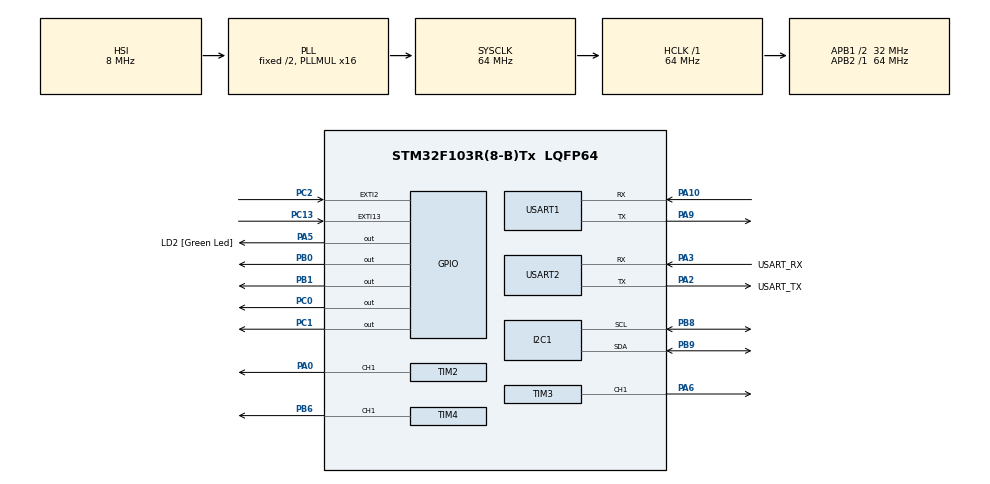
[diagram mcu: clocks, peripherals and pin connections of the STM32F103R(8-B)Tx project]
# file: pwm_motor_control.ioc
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Mcu.Family=STM32F1
Mcu.Name=STM32F103R(8-B)Tx
Mcu.Package=LQFP64
NVIC.EXTI15_10_IRQn=true\:0\:0\:false\:false\:true\:true\:true\:true
NVIC.EXTI2_IRQn=true\:0\:0\:false\:false\:true\:true\:true\:true
NVIC.PriorityGroup=NVIC_PRIORITYGROUP_4
NVIC.USART1_IRQn=true\:0\:0\:false\:false\:true\:true\:true\:true
PA0-WKUP.Signal=S_TIM2_CH1_ETR
PA10.Mode=Asynchronous
PA10.Signal=USART1_RX
PA13.GPIO_Label=TMS
PA13.Mode=Serial_Wire
PA13.Signal=SYS_JTMS-SWDIO
PA14.GPIO_Label=TCK
PA14.Mode=Serial_Wire
PA14.Signal=SYS_JTCK-SWCLK
PA2.GPIO_Label=USART_TX
PA2.GPIO_Mode=GPIO_MODE_AF_PP
PA2.GPIO_PuPd=GPIO_NOPULL
PA2.GPIO_Speed=GPIO_SPEED_FREQ_LOW
PA2.Mode=Asynchronous
PA2.Signal=USART2_TX
PA3.GPIO_Label=USART_RX
PA3.GPIO_Mode=GPIO_MODE_AF_PP
PA3.GPIO_PuPd=GPIO_NOPULL
PA3.GPIO_Speed=GPIO_SPEED_FREQ_LOW
PA3.Mode=Asynchronous
PA3.Signal=USART2_RX
PA5.GPIO_Label=LD2 [Green Led]
PA5.GPIO_ModeDefaultOutputPP=GPIO_MODE_OUTPUT_PP
PA5.GPIO_PuPd=GPIO_NOPULL
PA5.GPIO_Speed=GPIO_SPEED_FREQ_LOW
PA5.Signal=GPIO_Output
PA6.Signal=S_TIM3_CH1
PA9.Mode=Asynchronous
PA9.Signal=USART1_TX
PB0.Signal=GPIO_Output
PB1.Signal=GPIO_Output
PB3.GPIO_Label=SWO
PB3.Signal=SYS_JTDO-TRACESWO
PB6.Signal=S_TIM4_CH1
PB8.Mode=I2C
PB8.Signal=I2C1_SCL
PB9.Mode=I2C
PB9.Signal=I2C1_SDA
PC0.Signal=GPIO_Output
PC1.Signal=GPIO_Output
PC13-TAMPER-RTC.GPIO_ModeDefaultEXTI=GPIO_MODE_IT_FALLING
PC13-TAMPER-RTC.GPIO_PuPd=GPIO_PULLUP
PC13-TAMPER-RTC.Signal=GPXTI13
PC14-OSC32_IN.Mode=LSE-External-Oscillator
PC14-OSC32_IN.Signal=RCC_OSC32_IN
PC15-OSC32_OUT.Mode=LSE-External-Oscillator
PC15-OSC32_OUT.Signal=RCC_OSC32_OUT
PC2.GPIO_ModeDefaultEXTI=GPIO_MODE_IT_FALLING
PC2.GPIO_PuPd=GPIO_PULLUP
PC2.Signal=GPXTI2
PD0-OSC_IN.Mode=HSE-External-Clock-Source
PD0-OSC_IN.Signal=RCC_OSC_IN
PD1-OSC_OUT.Mode=HSE-External-Clock-Source
PD1-OSC_OUT.Signal=RCC_OSC_OUT
ProjectManager.HeapSize=0x200
ProjectManager.StackSize=0x400
ProjectManager.TargetToolchain=STM32CubeIDE
RCC.AHBFreq_Value=64000000
RCC.APB1CLKDivider=RCC_HCLK_DIV2
RCC.APB1Freq_Value=32000000
RCC.APB1TimFreq_Value=64000000
RCC.APB2Freq_Value=64000000
RCC.APB2TimFreq_Value=64000000
RCC.HCLKFreq_Value=64000000
RCC.PLLMUL=RCC_PLL_MUL16
RCC.RTCClockSelection=RCC_RTCCLKSOURCE_LSE
RCC.SYSCLKFreq_VALUE=64000000
RCC.SYSCLKSource=RCC_SYSCLKSOURCE_PLLCLK
RCC.USBFreq_Value=64000000
SH.S_TIM2_CH1_ETR.0=TIM2_CH1,PWM Generation1 CH1
SH.S_TIM3_CH1.0=TIM3_CH1,PWM Generation1 CH1
SH.S_TIM4_CH1.0=TIM4_CH1,PWM Generation1 CH1
TIM2.Channel-PWM\ Generation1\ CH1=TIM_CHANNEL_1
TIM2.Period=999
TIM2.Prescaler=71
TIM3.Channel-PWM\ Generation1\ CH1=TIM_CHANNEL_1
TIM3.Period=19999
TIM3.Prescaler=71
TIM4.Channel-PWM\ Generation1\ CH1=TIM_CHANNEL_1
TIM4.Period=499
TIM4.Prescaler=71
USART1.VirtualMode=VM_ASYNC
USART2.VirtualMode=VM_ASYNC
VP_TIM2_VS_ClockSourceINT.Mode=Internal
board=NUCLEO-F103RB

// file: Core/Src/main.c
/* USER CODE BEGIN Header */
/**
  ******************************************************************************
  * @file           : main.c
  * @brief          : Main program body
  ******************************************************************************
  * @attention
  *
  * Copyright (c) 2026 STMicroelectronics.
  * All rights reserved.
  *
  * This software is licensed under terms that can be found in the LICENSE file
  * in the root directory of this software component.
  * If no LICENSE file comes with this software, it is provided AS-IS.
  *
  ******************************************************************************
  */
/* USER CODE END Header */
#include "main.h"

/* USER CODE BEGIN Includes */
#include "button.h"
#include "buzzer.h"
#include "motor.h"
#include "servo.h"
#include "led.h"
#include "uart_com.h"
#include "ssd1306.h"
#include "ssd1306_fonts.h"
#include <stdio.h>

/* USER CODE END Includes */

I2C_HandleTypeDef hi2c1;

TIM_HandleTypeDef htim2;
TIM_HandleTypeDef htim3;
TIM_HandleTypeDef htim4;

UART_HandleTypeDef huart1;
UART_HandleTypeDef huart2;

/* USER CODE BEGIN PV */
uint8_t rx_data;

//OLED 표시용 변수 추가
char current_status[20] = "COLLECTING...";
uint8_t vote_count = 0;
uint8_t defect_count = 0;

typedef enum {
    MOTOR_STOPPED = 0,
    MOTOR_RUNNING
} MotorState_t;

static MotorState_t motor_state = MOTOR_STOPPED;
static uint8_t motor_speed = 45;

/* USER CODE END PV */

void SystemClock_Config(void);
static void MX_GPIO_Init(void);
static void MX_USART2_UART_Init(void);
static void MX_TIM2_Init(void);
static void MX_TIM3_Init(void);
static void MX_TIM4_Init(void);
static void MX_USART1_UART_Init(void);
static void MX_I2C1_Init(void);

/* USER CODE BEGIN 0 */

#define SERVO_HOME_DEG         75 // 서보모터 초기각도
#define SERVO_ACT_DEG          0  // 버튼 누를시 변경각도

static uint8_t g_servo_pos = 0;

void HAL_GPIO_EXTI_Callback(uint16_t GPIO_Pin)
{
    Button_EXTI_Callback(GPIO_Pin);
}

/* USER CODE END 0 */

int main(void)
{

  /* MCU Configuration--------------------------------------------------------*/

  /* Reset of all peripherals, Initializes the Flash interface and the Systick. */
  HAL_Init();

  /* Configure the system clock */
  SystemClock_Config();

  /* Initialize all configured peripherals */
  MX_GPIO_Init();
  MX_USART2_UART_Init();
  MX_TIM2_Init();
  MX_TIM3_Init();
  MX_TIM4_Init();
  MX_USART1_UART_Init();
  MX_I2C1_Init();
  /* USER CODE BEGIN 2 */

  // ===== Motor Driver =====
  Motor_Init(&htim2);   // 내부에서 PWM 시작됨
  Motor_Stop();
  motor_state = MOTOR_STOPPED;

  /* ===== Servo Driver ===== */
  Servo_Init(&htim3);
  Servo_SetAngle(SERVO_HOME_DEG);

  /* ===== Buzzer ===== */
  Buzzer_Init(&htim4);

  /* ===== LED ===== */
  LED_Init();

  /* ===== UART Communication ===== */
  UART_Com_Init(&huart1);

  /* ===== OLED 초기화 ===== */
  ssd1306_Init();

  // 초기 화면 표시
  ssd1306_Fill(Black);
  ssd1306_SetCursor(0, 0);
  ssd1306_WriteString("Motor Monitor", Font_11x18, White);
  ssd1306_SetCursor(0, 25);
  ssd1306_WriteString("Status: READY", Font_7x10, White);
  ssd1306_UpdateScreen();

  HAL_Delay(2000);  // 2초 대기

//  HAL_UART_Receive_IT(&huart1, &rx_data, 1);

  /* USER CODE END 2 */

  /* Infinite loop */
  while (1)
  {

    /* USER CODE BEGIN 3 */

	  // OLED 업데이트 추가
	  ssd1306_Fill(Black);

	  // 타이틀
	  ssd1306_SetCursor(0, 0);
	  ssd1306_WriteString("MOTOR Monitor", Font_7x10, White);

	  // Vote 출력
	  ssd1306_SetCursor(0, 24);
	  ssd1306_WriteString("VOTE:", Font_6x8, White);

	  // 투표 블록 바
	  uint8_t bar_y1 = 22;   // 바 상단
	  uint8_t bar_y2 = 30;   // 바 하단
	  uint8_t start_x = 35;  // "VOTE:"

	  for(int i = 0; i < 5; i++) {
	      uint8_t x1 = start_x + i * 12;
	      uint8_t x2 = x1 + 8;

	      if(i < vote_count)
	          ssd1306_FillRectangle(x1, bar_y1, x2, bar_y2, White);
	      else
	          ssd1306_DrawRectangle(x1, bar_y1, x2, bar_y2, White);
	  }

	  // 상태
	  ssd1306_SetCursor(0, 38);
	  ssd1306_WriteString(current_status, Font_7x10, White);

	  ssd1306_UpdateScreen();

	  Buzzer_Task();

	  ButtonEvent_t ev = Button_GetEvent();

	  if (ev == BTN_SERVO)
	  {
	      g_servo_pos ^= 1U;
	      if (g_servo_pos) Servo_SetAngle(SERVO_ACT_DEG);
	      else            Servo_SetAngle(SERVO_HOME_DEG);
	  }
	  else if (ev == BTN_MOTOR)
	  {
	      if (motor_state == MOTOR_STOPPED)
	      {
	          Motor_SetSpeed(motor_speed);
	          motor_state = MOTOR_RUNNING;
	      }
	      else
	      {
	          Motor_Stop();
	          motor_state = MOTOR_STOPPED;
	      }
	  }

  }
  HAL_Delay(1);
  /* USER CODE END 3 */
}

void SystemClock_Config(void)
{
  RCC_OscInitTypeDef RCC_OscInitStruct = {0};
  RCC_ClkInitTypeDef RCC_ClkInitStruct = {0};

  /** Initializes the RCC Oscillators according to the specified parameters
  * in the RCC_OscInitTypeDef structure.
  */
  RCC_OscInitStruct.OscillatorType = RCC_OSCILLATORTYPE_HSI;
  RCC_OscInitStruct.HSIState = RCC_HSI_ON;
  RCC_OscInitStruct.HSICalibrationValue = RCC_HSICALIBRATION_DEFAULT;
  RCC_OscInitStruct.PLL.PLLState = RCC_PLL_ON;
  RCC_OscInitStruct.PLL.PLLSource = RCC_PLLSOURCE_HSI_DIV2;
  RCC_OscInitStruct.PLL.PLLMUL = RCC_PLL_MUL16;
  if (HAL_RCC_OscConfig(&RCC_OscInitStruct) != HAL_OK)
  {
    Error_Handler();
  }

  /** Initializes the CPU, AHB and APB buses clocks
  */
  RCC_ClkInitStruct.ClockType = RCC_CLOCKTYPE_HCLK|RCC_CLOCKTYPE_SYSCLK
                              |RCC_CLOCKTYPE_PCLK1|RCC_CLOCKTYPE_PCLK2;
  RCC_ClkInitStruct.SYSCLKSource = RCC_SYSCLKSOURCE_PLLCLK;
  RCC_ClkInitStruct.AHBCLKDivider = RCC_SYSCLK_DIV1;
  RCC_ClkInitStruct.APB1CLKDivider = RCC_HCLK_DIV2;
  RCC_ClkInitStruct.APB2CLKDivider = RCC_HCLK_DIV1;

  if (HAL_RCC_ClockConfig(&RCC_ClkInitStruct, FLASH_LATENCY_2) != HAL_OK)
  {
    Error_Handler();
  }
}

static void MX_I2C1_Init(void)
{

  hi2c1.Instance = I2C1;
  hi2c1.Init.ClockSpeed = 100000;
  hi2c1.Init.DutyCycle = I2C_DUTYCYCLE_2;
  hi2c1.Init.OwnAddress1 = 0;
  hi2c1.Init.AddressingMode = I2C_ADDRESSINGMODE_7BIT;
  hi2c1.Init.DualAddressMode = I2C_DUALADDRESS_DISABLE;
  hi2c1.Init.OwnAddress2 = 0;
  hi2c1.Init.GeneralCallMode = I2C_GENERALCALL_DISABLE;
  hi2c1.Init.NoStretchMode = I2C_NOSTRETCH_DISABLE;
  if (HAL_I2C_Init(&hi2c1) != HAL_OK)
  {
    Error_Handler();
  }

}

static void MX_TIM2_Init(void)
{

  TIM_ClockConfigTypeDef sClockSourceConfig = {0};
  TIM_MasterConfigTypeDef sMasterConfig = {0};
  TIM_OC_InitTypeDef sConfigOC = {0};

  htim2.Instance = TIM2;
  htim2.Init.Prescaler = 71;
  htim2.Init.CounterMode = TIM_COUNTERMODE_UP;
  htim2.Init.Period = 999;
  htim2.Init.ClockDivision = TIM_CLOCKDIVISION_DIV1;
  htim2.Init.AutoReloadPreload = TIM_AUTORELOAD_PRELOAD_DISABLE;
  if (HAL_TIM_Base_Init(&htim2) != HAL_OK)
  {
    Error_Handler();
  }
  sClockSourceConfig.ClockSource = TIM_CLOCKSOURCE_INTERNAL;
  if (HAL_TIM_ConfigClockSource(&htim2, &sClockSourceConfig) != HAL_OK)
  {
    Error_Handler();
  }
  if (HAL_TIM_PWM_Init(&htim2) != HAL_OK)
  {
    Error_Handler();
  }
  sMasterConfig.MasterOutputTrigger = TIM_TRGO_RESET;
  sMasterConfig.MasterSlaveMode = TIM_MASTERSLAVEMODE_DISABLE;
  if (HAL_TIMEx_MasterConfigSynchronization(&htim2, &sMasterConfig) != HAL_OK)
  {
    Error_Handler();
  }
  sConfigOC.OCMode = TIM_OCMODE_PWM1;
  sConfigOC.Pulse = 0;
  sConfigOC.OCPolarity = TIM_OCPOLARITY_HIGH;
  sConfigOC.OCFastMode = TIM_OCFAST_DISABLE;
  if (HAL_TIM_PWM_ConfigChannel(&htim2, &sConfigOC, TIM_CHANNEL_1) != HAL_OK)
  {
    Error_Handler();
  }
  HAL_TIM_MspPostInit(&htim2);

}

static void MX_TIM3_Init(void)
{

  TIM_MasterConfigTypeDef sMasterConfig = {0};
  TIM_OC_InitTypeDef sConfigOC = {0};

  htim3.Instance = TIM3;
  htim3.Init.Prescaler = 71;
  htim3.Init.CounterMode = TIM_COUNTERMODE_UP;
  htim3.Init.Period = 19999;
  htim3.Init.ClockDivision = TIM_CLOCKDIVISION_DIV1;
  htim3.Init.AutoReloadPreload = TIM_AUTORELOAD_PRELOAD_DISABLE;
  if (HAL_TIM_PWM_Init(&htim3) != HAL_OK)
  {
    Error_Handler();
  }
  sMasterConfig.MasterOutputTrigger = TIM_TRGO_RESET;
  sMasterConfig.MasterSlaveMode = TIM_MASTERSLAVEMODE_DISABLE;
  if (HAL_TIMEx_MasterConfigSynchronization(&htim3, &sMasterConfig) != HAL_OK)
  {
    Error_Handler();
  }
  sConfigOC.OCMode = TIM_OCMODE_PWM1;
  sConfigOC.Pulse = 0;
  sConfigOC.OCPolarity = TIM_OCPOLARITY_HIGH;
  sConfigOC.OCFastMode = TIM_OCFAST_DISABLE;
  if (HAL_TIM_PWM_ConfigChannel(&htim3, &sConfigOC, TIM_CHANNEL_1) != HAL_OK)
  {
    Error_Handler();
  }
  HAL_TIM_MspPostInit(&htim3);

}

static void MX_TIM4_Init(void)
{

  TIM_MasterConfigTypeDef sMasterConfig = {0};
  TIM_OC_InitTypeDef sConfigOC = {0};

  htim4.Instance = TIM4;
  htim4.Init.Prescaler = 71;
  htim4.Init.CounterMode = TIM_COUNTERMODE_UP;
  htim4.Init.Period = 499;
  htim4.Init.ClockDivision = TIM_CLOCKDIVISION_DIV1;
  htim4.Init.AutoReloadPreload = TIM_AUTORELOAD_PRELOAD_DISABLE;
  if (HAL_TIM_PWM_Init(&htim4) != HAL_OK)
  {
    Error_Handler();
  }
  sMasterConfig.MasterOutputTrigger = TIM_TRGO_RESET;
  sMasterConfig.MasterSlaveMode = TIM_MASTERSLAVEMODE_DISABLE;
  if (HAL_TIMEx_MasterConfigSynchronization(&htim4, &sMasterConfig) != HAL_OK)
  {
    Error_Handler();
  }
  sConfigOC.OCMode = TIM_OCMODE_PWM1;
  sConfigOC.Pulse = 0;
  sConfigOC.OCPolarity = TIM_OCPOLARITY_HIGH;
  sConfigOC.OCFastMode = TIM_OCFAST_DISABLE;
  if (HAL_TIM_PWM_ConfigChannel(&htim4, &sConfigOC, TIM_CHANNEL_1) != HAL_OK)
  {
    Error_Handler();
  }
  HAL_TIM_MspPostInit(&htim4);

}

static void MX_USART1_UART_Init(void)
{

  huart1.Instance = USART1;
  huart1.Init.BaudRate = 115200;
  huart1.Init.WordLength = UART_WORDLENGTH_8B;
  huart1.Init.StopBits = UART_STOPBITS_1;
  huart1.Init.Parity = UART_PARITY_NONE;
  huart1.Init.Mode = UART_MODE_TX_RX;
  huart1.Init.HwFlowCtl = UART_HWCONTROL_NONE;
  huart1.Init.OverSampling = UART_OVERSAMPLING_16;
  if (HAL_UART_Init(&huart1) != HAL_OK)
  {
    Error_Handler();
  }

}

static void MX_USART2_UART_Init(void)
{

  huart2.Instance = USART2;
  huart2.Init.BaudRate = 115200;
  huart2.Init.WordLength = UART_WORDLENGTH_8B;
  huart2.Init.StopBits = UART_STOPBITS_1;
  huart2.Init.Parity = UART_PARITY_NONE;
  huart2.Init.Mode = UART_MODE_TX_RX;
  huart2.Init.HwFlowCtl = UART_HWCONTROL_NONE;
  huart2.Init.OverSampling = UART_OVERSAMPLING_16;
  if (HAL_UART_Init(&huart2) != HAL_OK)
  {
    Error_Handler();
  }

}

static void MX_GPIO_Init(void)
{
  GPIO_InitTypeDef GPIO_InitStruct = {0};

  /* GPIO Ports Clock Enable */
  __HAL_RCC_GPIOC_CLK_ENABLE();
  __HAL_RCC_GPIOD_CLK_ENABLE();
  __HAL_RCC_GPIOA_CLK_ENABLE();
  __HAL_RCC_GPIOB_CLK_ENABLE();

  /*Configure GPIO pin Output Level */
  HAL_GPIO_WritePin(GPIOC, GPIO_PIN_0|GPIO_PIN_1, GPIO_PIN_RESET);

  /*Configure GPIO pin Output Level */
  HAL_GPIO_WritePin(LD2_GPIO_Port, LD2_Pin, GPIO_PIN_RESET);

  /*Configure GPIO pin Output Level */
  HAL_GPIO_WritePin(GPIOB, GPIO_PIN_0|GPIO_PIN_1, GPIO_PIN_RESET);

  /*Configure GPIO pins : PC13 PC2 */
  GPIO_InitStruct.Pin = GPIO_PIN_13|GPIO_PIN_2;
  GPIO_InitStruct.Mode = GPIO_MODE_IT_FALLING;
  GPIO_InitStruct.Pull = GPIO_PULLUP;
  HAL_GPIO_Init(GPIOC, &GPIO_InitStruct);

  /*Configure GPIO pins : PC0 PC1 */
  GPIO_InitStruct.Pin = GPIO_PIN_0|GPIO_PIN_1;
  GPIO_InitStruct.Mode = GPIO_MODE_OUTPUT_PP;
  GPIO_InitStruct.Pull = GPIO_NOPULL;
  GPIO_InitStruct.Speed = GPIO_SPEED_FREQ_LOW;
  HAL_GPIO_Init(GPIOC, &GPIO_InitStruct);

  /*Configure GPIO pin : LD2_Pin */
  GPIO_InitStruct.Pin = LD2_Pin;
  GPIO_InitStruct.Mode = GPIO_MODE_OUTPUT_PP;
  GPIO_InitStruct.Pull = GPIO_NOPULL;
  GPIO_InitStruct.Speed = GPIO_SPEED_FREQ_LOW;
  HAL_GPIO_Init(LD2_GPIO_Port, &GPIO_InitStruct);

  /*Configure GPIO pins : PB0 PB1 */
  GPIO_InitStruct.Pin = GPIO_PIN_0|GPIO_PIN_1;
  GPIO_InitStruct.Mode = GPIO_MODE_OUTPUT_PP;
  GPIO_InitStruct.Pull = GPIO_NOPULL;
  GPIO_InitStruct.Speed = GPIO_SPEED_FREQ_LOW;
  HAL_GPIO_Init(GPIOB, &GPIO_InitStruct);

  /* EXTI interrupt init*/
  HAL_NVIC_SetPriority(EXTI2_IRQn, 0, 0);
  HAL_NVIC_EnableIRQ(EXTI2_IRQn);

  HAL_NVIC_SetPriority(EXTI15_10_IRQn, 0, 0);
  HAL_NVIC_EnableIRQ(EXTI15_10_IRQn);

}

/* USER CODE BEGIN 4 */

void HAL_UART_RxCpltCallback(UART_HandleTypeDef *huart)
{
    UART_Com_RxCallback(huart);
}

/* USER CODE END 4 */

void Error_Handler(void)
{
  __disable_irq();
  while (1)
  {
  }
}
